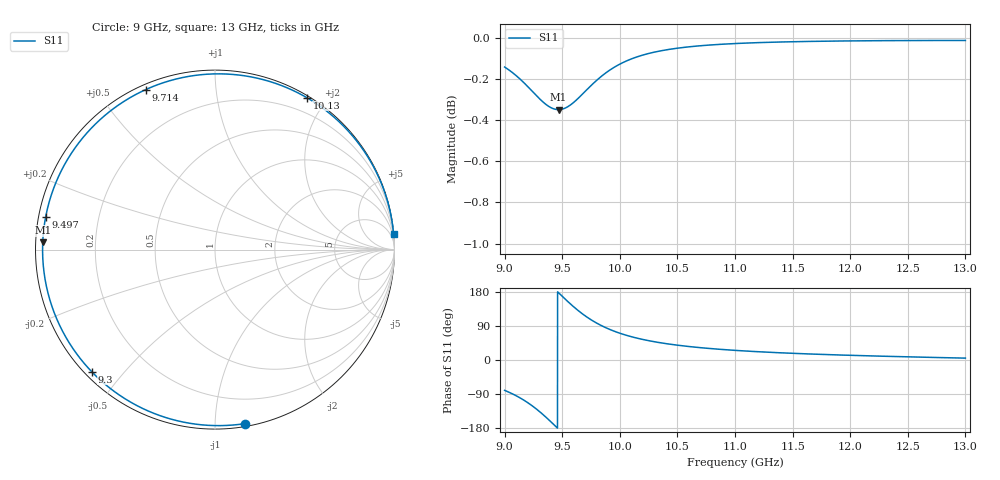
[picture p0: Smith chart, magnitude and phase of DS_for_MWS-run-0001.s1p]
! TOUCHSTONE file generated by CST DESIGN STUDIO
! Date and time: Tue Feb  4 13:37:39 2025
! Project name: C:\Work\MatlabApps\UnitCellOptimizationMatlab\CST\unitcell.cst
! Tree item: Tasks\Sweep1\SPara1\S-Parameters
! Header version: 2024
! Port assignment regex: !\s*Touchstone port\s*([0-9]+)\s*=\s*(CST MWS port|CST DES external port|CST DES block port)\s*(.+)\s* \(\"(.*)\"\)(\s*mode\s*([0-9]+))?.*
! Touchstone port assignment:
! Touchstone port 1 = CST DES external port 1 ("")
# GHz S MA R 50
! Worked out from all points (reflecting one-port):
!   4001 points, 9 GHz to 13 GHz, reference 50 ohm
!   lowest |S11| = -0.3 dB at 9.468 GHz (marker M1), VSWR 49.86, Z = 1 + j1.06 ohm
!   phase of S11 starts at -80 deg and turns -275 deg over the sweep
!   S11 on the Smith chart (normalised r, x): 9 GHz: 0.02, -1.19; 9.3 GHz: 0.02, -0.41; 9.497 GHz: 0.02, +0.10; 9.714 GHz: 0.02, +0.66; 10.13 GHz: 0.02, +1.77; 13 GHz: 0, +23
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9  0.9838 -80.1
9.073  0.9805 -90.1
9.169  0.9751 -106.3
9.237  0.9708 -120.3
9.3  0.9667 -135.3
9.344  0.9642 -146.8
9.39  0.9621 -159.7
9.43  0.961 -171.2
9.468  0.9607 177.6
9.497  0.9609 169.1
9.5  0.9609 168.2
9.551  0.9623 153.6
9.61  0.9651 137.7
9.661  0.9681 125.1
9.714  0.9714 113.4
9.771  0.9749 102.3
9.834  0.9784 91.7
9.915  0.9822 80.4
10  0.9854 70.7
10.134  0.9891 58.8
10.299  0.9921 48.2
10.5  0.9943 39.1
10.722  0.9958 31.9
11  0.9969 25.4
11.5  0.9979 17.6
12  0.9983 12.4
12.5  0.9985 8.3
13  0.9986 4.9
